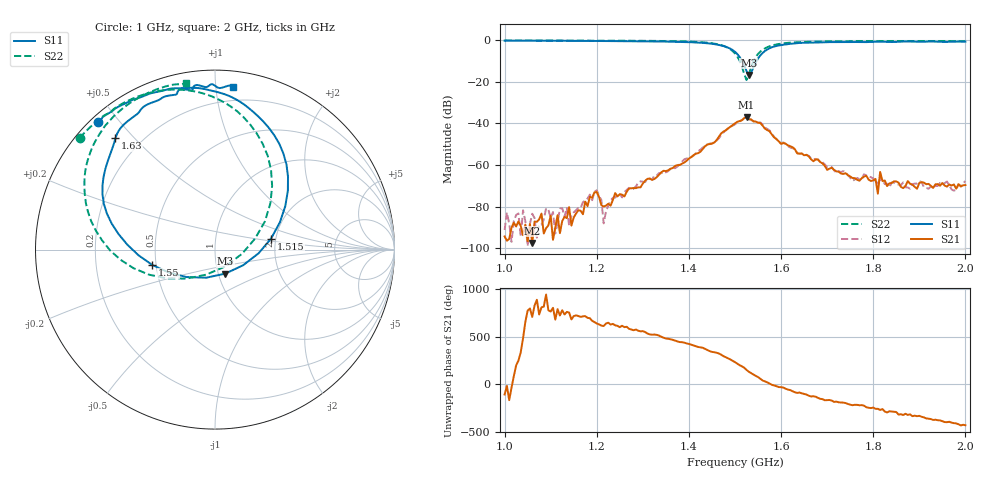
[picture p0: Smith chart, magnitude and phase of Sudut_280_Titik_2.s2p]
# Hz S RI R 50
! CMT, C1220, 16058040, 17.2.0/1
! Date: 14/08/2018 12:49:12
! Data: Format (Calibration Info)
! Freq  S11: Re/Im (F2)  S21: Re/Im (F2)  S12: Re/Im (F2)  S22: Re/Im (F2)
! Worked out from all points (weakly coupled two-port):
!   201 points, 1 GHz to 2 GHz, reference 50 ohm
!   highest |S21| = -36.95 dB at 1.525 GHz (marker M1); lowest = -97.4 dB at 1.06 GHz (marker M2)
!   lowest |S11| = -16.7 dB at 1.53 GHz (marker M3), VSWR 1.34, Z = 54.1 - j14.7 ohm
!   |S11| at or under -10 dB: 1.515 GHz to 1.547 GHz (31.93 MHz wide, 2.09 % of centre)
!   |S22| runs from -19.2 to -0.2 dB; largest |S21 - S12| = 0.00061
!   S11 on the Smith chart (normalised r, x): 1 GHz: 0.02, +0.44; 1.515 GHz: 1.89, +0.26; 1.55 GHz: 0.48, -0.09; 1.63 GHz: 0.11, +0.44; 2 GHz: 0.10, +1.11
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1e9  -0.652 0.7132  -5.65e-06 -1.86e-05  -2.64e-05 9e-06  -0.7537 0.6216
1.06e9  -0.5946 0.7582  1.32e-05 -2.97e-06  1.01e-05 6.74e-05  -0.7129 0.6658
1.17e9  -0.4818 0.8236  6.6e-05 -7.01e-06  0.000125 3.38e-05  -0.6183 0.7468
1.2e9  -0.4399 0.8402  3.17e-05 -0.000223  5.45e-06 -0.000249  -0.5849 0.7601
1.22e9  -0.4176 0.8475  1.55e-05 -0.000106  -3.06e-05 -7.14e-05  -0.5739 0.7741
1.335e9  -0.2201 0.8984  -0.000513 0.000279  -0.000532 0.000363  -0.404 0.8616
1.45e9  0.1824 0.7929  0.00307 -0.00111  0.00303 -0.00138  0.0187 0.837
1.5e9  0.4059 0.3279  -0.00614 -0.00803  -0.0058 -0.00755  0.3183 0.355
1.515e9  0.3124 0.0615  -0.0118 -0.00184  -0.0118 -0.00207  0.2239 0.0622
1.525e9  0.1569 -0.0871  -0.0124 0.00693  -0.0125 0.00688  0.0578 -0.0936
1.53e9  0.0583 -0.1334  -0.00837 0.00942  -0.00839 0.00948  -0.0488 -0.1395
1.55e9  -0.3503 -0.0851  0.00255 0.0101  0.00216 0.0102  -0.4538 -0.1036
1.58e9  -0.6195 0.2565  0.0054 -0.000506  0.0056 -0.000778  -0.7074 0.2097
1.63e9  -0.5545 0.6208  0.000256 -0.00239  0.00037 -0.00238  -0.6954 0.5396
1.67e9  -0.4471 0.7447  -0.000723 -0.00101  -0.000807 -0.00111  -0.6274 0.6681
1.805e9  -0.2024 0.8877  -9.98e-05 0.000455  -0.000202 0.000338  -0.4217 0.8485
1.81e9  -0.1947 0.8916  -4.45e-05 0.000201  -1.18e-05 0.000367  -0.4153 0.8523
1.815e9  -0.1847 0.8935  1.51e-08 0.000685  6.75e-05 0.000463  -0.4084 0.8559
1.835e9  -0.137 0.887  8.56e-05 0.000355  0.000137 0.000257  -0.3816 0.8693
1.96e9  0.0352 0.901  0.00024 -0.000188  0.000289 -0.000284  -0.2044 0.9213
1.975e9  0.0648 0.9105  0.000228 -0.000257  0.000146 -0.000194  -0.1872 0.9209
2e9  0.1009 0.9067  0.00011 -0.000314  0.000121 -0.000395  -0.1595 0.93
